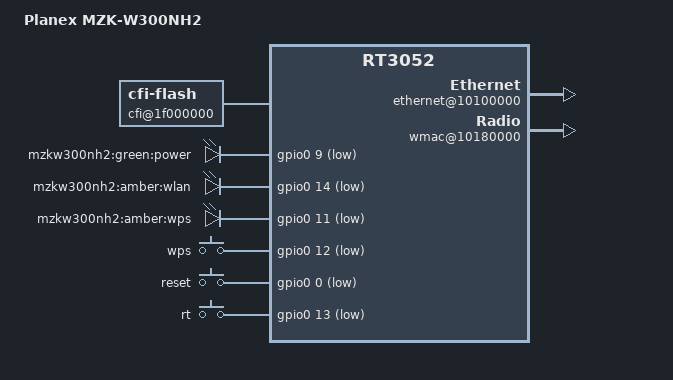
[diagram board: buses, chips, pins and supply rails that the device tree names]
/dts-v1/;

/include/ "rt3050.dtsi"

/ {
	#address-cells = <1>;
	#size-cells = <1>;
	compatible = "MZK-W300NH2", "ralink,rt3052-soc";
	model = "Planex MZK-W300NH2";

	memorydetect {
		ralink,memory = <0x0 0x200000 0x4000000>;
	};

	chosen {
		bootargs = "console=ttyS0,57600 mtdparts=1f000000.cfi:192k(u-boot)ro,64k(u-boot-env)ro,64k(factory)ro,128k@0x3e0000(cimage)ro,3648k@0x50000(firmware)";
	};

	palmbus@10000000 {
		sysc@0 {
			ralink,pinmmux = "uartlite", "mdio", "sdram", "rgmii";
			ralink,gpiommux = "i2c", "spi", "jtag";
			ralink,uartmux = "gpio";
			ralink,wdtmux = <1>;
		};

		gpio0: gpio@600 {
			status = "okay";
		};
	};

	cfi@1f000000 {
		compatible = "cfi-flash";
		reg = <0x1f000000 0x800000>;

		bank-width = <2>;
		device-width = <2>;
		#address-cells = <1>;
		#size-cells = <1>;
	};

	ethernet@10100000 {
		status = "okay";
	};

	esw@10110000 {
		status = "okay";
		ralink,portmap = <0x2f>;
	};

	gpio-leds {
		compatible = "gpio-leds";
		power {
			label = "mzkw300nh2:green:power";
			gpios = <&gpio0 9 1>;
		};
		wlan {
			label = "mzkw300nh2:amber:wlan";
			gpios = <&gpio0 14 1>;
		};
		wps {
			label = "mzkw300nh2:amber:wps";
			gpios = <&gpio0 11 1>;
		};
	};

	gpio-keys-polled {
		compatible = "gpio-keys-polled";
		#address-cells = <1>;
		#size-cells = <0>;
		poll-interval = <20>;
		wps {
			label = "wps";
			gpios = <&gpio0 12 1>;
			linux,code = <0x211>;
		};
		reset {
			label = "reset";
			gpios = <&gpio0 0 1>;
			linux,code = <0x198>;
		};
		rt {
			label = "rt";
			gpios = <&gpio0 13 1>;
			linux,code = <0x100>;
		};
	};

	wmac@10180000 {
		status = "okay";
	};
};
